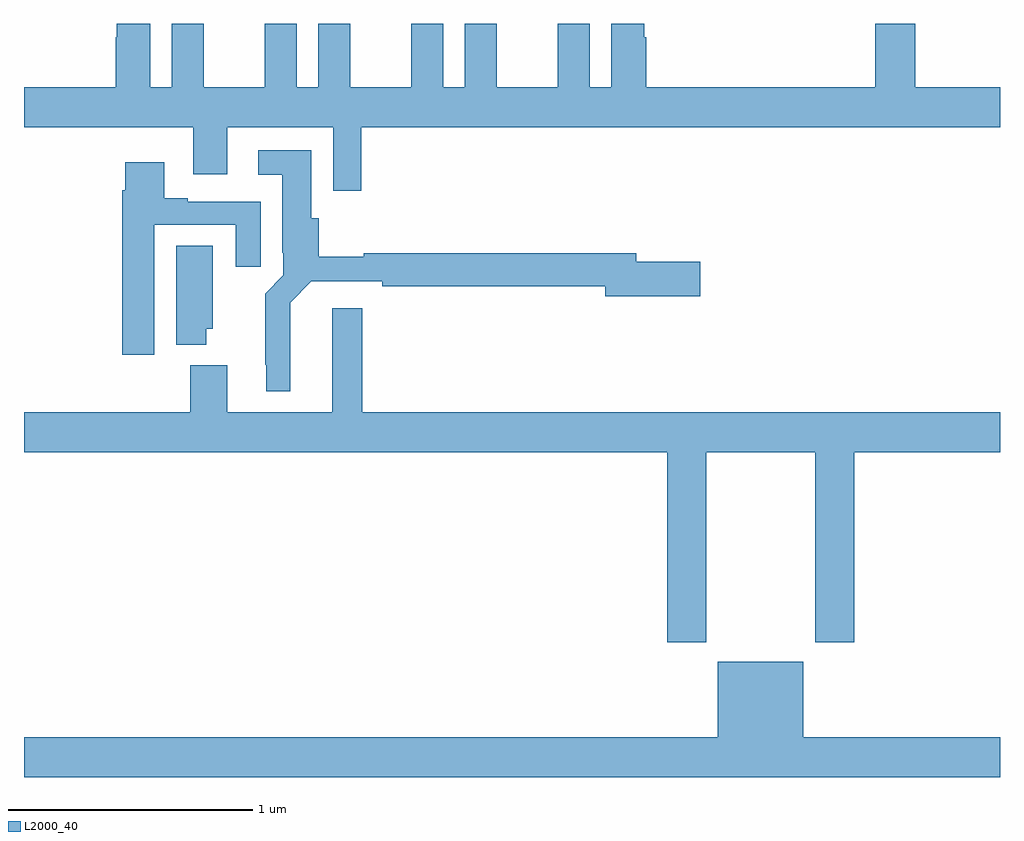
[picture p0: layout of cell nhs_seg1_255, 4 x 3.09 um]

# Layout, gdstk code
import gdstk
lib = gdstk.Library(unit=1e-6, precision=1e-09)
def P(c, l, *ps):  # polygons
    for p in ps: c.add(gdstk.Polygon(p, *l))
L2000_40 = (2000, 40)

nhs_seg1_255 = lib.new_cell('nhs_seg1_255')
P(nhs_seg1_255, L2000_40, [(129,507.94),(128.653,507.94),(128.653,508.199),(128.489,508.199),(128.489,507.94),(127.55,507.94),(127.55,508.145),(127.543,508.145),(127.543,508.199),(127.406,508.199),(127.406,507.94),(127.318,507.94),(127.318,508.199),(127.187,508.199),(127.187,507.94),(126.937,507.94),(126.937,508.199),(126.806,508.199),(126.806,507.94),(126.718,507.94),(126.718,508.199),(126.587,508.199),(126.587,507.94),(126.337,507.94),(126.337,508.199),(126.206,508.199),(126.206,507.94),(126.118,507.94),(126.118,508.199),(125.987,508.199),(125.987,507.94),(125.737,507.94),(125.737,508.199),(125.606,508.199),(125.606,507.94),(125.518,507.94),(125.518,508.199),(125.381,508.199),(125.381,508.145),(125.375,508.145),(125.375,507.94),(125,507.94),(125,507.776),(125.693,507.776),(125.693,507.582),(125.833,507.582),(125.833,507.776),(126.267,507.776),(126.267,507.516),(126.383,507.516),(126.383,507.776),(129,507.776)],
  [(126.091,507.056),(126.178,507.144),(126.469,507.144),(126.469,507.124),(127.382,507.124),(127.382,507.082),(127.771,507.082),(127.771,507.224),(127.51,507.224),(127.51,507.26),(126.392,507.26),(126.392,507.245),(126.209,507.245),(126.209,507.402),(126.178,507.402),(126.178,507.682),(125.961,507.682),(125.961,507.581),(126.059,507.581),(126.059,507.262),(126.063,507.262),(126.063,507.168),(125.989,507.094),(125.989,506.803),(125.993,506.803),(125.993,506.693),(126.091,506.693)],
  [(125.533,507.375),(125.867,507.375),(125.867,507.204),(125.971,507.204),(125.971,507.471),(125.671,507.471),(125.671,507.484),(125.575,507.484),(125.575,507.631),(125.414,507.631),(125.414,507.518),(125.402,507.518),(125.402,506.844),(125.533,506.844)],
  [(125.746,506.949),(125.773,506.949),(125.773,507.29),(125.624,507.29),(125.624,506.885),(125.746,506.885)],
  [(127.797,506.444),(128.242,506.444),(128.242,505.665),(128.402,505.665),(128.402,506.444),(129,506.444),(129,506.608),(126.386,506.608),(126.386,507.034),(126.263,507.034),(126.263,506.608),(125.833,506.608),(125.833,506.8),(125.681,506.8),(125.681,506.608),(125,506.608),(125,506.444),(127.637,506.444),(127.637,505.665),(127.797,505.665)],
  [(129,505.276),(128.194,505.276),(128.194,505.585),(127.844,505.585),(127.844,505.276),(125,505.276),(125,505.112),(129,505.112)])

lib.write_gds('nhs_seg1_255.gds')
